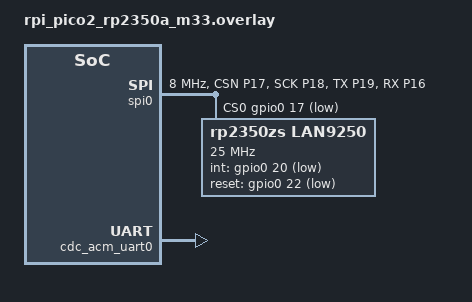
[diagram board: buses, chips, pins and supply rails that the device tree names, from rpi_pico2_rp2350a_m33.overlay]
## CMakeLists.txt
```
# SPDX-License-Identifier: Apache-2.0

cmake_minimum_required(VERSION 3.20.0)

find_package(Zephyr REQUIRED HINTS $ENV{ZEPHYR_BASE})
project(rp2350_zephyr_stepper)

target_sources(app PRIVATE
    src/main.c
    src/core1_launch.c
    src/stepper_shell.c
    src/core1_blob.c
    src/mdns_service.c
    src/eth_id.c
    src/bootloader_shell.c
    src/ptp_shell.c
    drivers/eth_lan9250/eth_lan9250.c
    drivers/eth_lan9250/ptp_clock_lan9250.c
)

include(cmake/core1.cmake)
```

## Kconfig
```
# SPDX-License-Identifier: Apache-2.0

mainmenu "RP2350 Zephyr Stepper"

rsource "drivers/eth_lan9250/Kconfig"

# Sources Kconfig.zephyr in the Zephyr root directory.
#
# Note: All 'source' statements work relative to the Zephyr root directory (due
# to the $srctree environment variable being set to $ZEPHYR_BASE). If you want
# to 'source' relative to the current Kconfig file instead, use 'rsource' (or a
# path relative to the Zephyr root).
source "Kconfig.zephyr"
```

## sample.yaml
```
sample:
  description: Bare-metal core1 stepper motor control with LAN9250 Ethernet and USB CDC-ACM console
  name: rp2350 zephyr stepper
common:
  min_ram: 32
  min_flash: 64
  tags: networking ethernet multicore
  platform_allow:
    - rpi_pico2/rp2350a/m33
tests:
  sample.net.dhcpv4_lan9250_stepper:
    tags: networking ethernet multicore
```

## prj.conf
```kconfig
CONFIG_USB_DEVICE_STACK_NEXT=y
CONFIG_CDC_ACM_SERIAL_INITIALIZE_AT_BOOT=y

# CONFIG_NETWORKING selects ENTROPY_GENERATOR, which defaults on the RP2350
# hardware RNG driver (ENTROPY_RPI_PICO_RNG). That driver pulls in hal_rpi_pico's
# pico_rand module, whose .uninitialized_data.rng_state section lands inside the
# RAM data-copy region immediately before usbd_context_area, desyncing the
# flash->RAM copy and corrupting the CDC ACM USBD context. Disable it and rely
# on the TEST_RANDOM_GENERATOR fallback instead.
CONFIG_ENTROPY_RPI_PICO_RNG=n

# Core0 <-> core1 SIO-FIFO mailbox (see &mbox in the board overlay).
CONFIG_MBOX=y

CONFIG_SERIAL=y
CONFIG_CONSOLE=y
CONFIG_SHELL=y
CONFIG_UART_CONSOLE=y
CONFIG_UART_LINE_CTRL=y


CONFIG_NETWORKING=y
CONFIG_NET_L2_ETHERNET=y
CONFIG_NET_L2_ETHERNET_MGMT=y
CONFIG_NET_IPV6=n
CONFIG_NET_IPV4=y
CONFIG_NET_ARP=y
CONFIG_NET_UDP=y
CONFIG_NET_DHCPV4=y
CONFIG_NET_DHCPV4_OPTION_CALLBACKS=y
CONFIG_DNS_RESOLVER=y

CONFIG_TEST_RANDOM_GENERATOR=y

CONFIG_INIT_STACKS=y

CONFIG_NET_MGMT=y
CONFIG_NET_MGMT_EVENT=y

CONFIG_NET_TCP=y

# Per-chip unique ID (RP2350 flash unique ID), used by src/eth_id.c to
# generate a stable, per-board MAC address instead of the fixed one in the
# devicetree overlay.
CONFIG_HWINFO=y

# IEEE 1588 (PTP) hardware clock on the LAN9250 - see
# drivers/eth_lan9250/ptp_clock_lan9250.c and THEORY_OF_OPERATION.md's
# "IEEE 1588 / PTP" section. CONFIG_PTP_CLOCK_SHELL gives a generic
# `ptp_clock get/set/adjust/rate_adjust <device>` shell interface for free
# (device name is PTP_CLOCK_NAME, i.e. "PTP_CLOCK") - used instead of
# hand-writing set/adjust/rate_adjust test commands ourselves; this
# project's own `ptp clock`/`ptp pps` commands (src/ptp_shell.c) cover
# what that generic interface doesn't (free-running-rate sanity check,
# arming the 1PPS output).
CONFIG_PTP_CLOCK=y
CONFIG_PTP_CLOCK_SHELL=y

# Needed for net_pkt_timestamp()/net_pkt_set_timestamp() - phase 4 (RX/TX
# hardware packet timestamping, drivers/eth_lan9250/eth_lan9250.c's
# lan9250_1588_rx_timestamp_check()/lan9250_1588_tx_timestamp_check())
# attaches captured 1588 timestamps to net_pkt via this.
CONFIG_NET_PKT_TIMESTAMP=y

# mDNS hostname resolution ("stepperXXXX".local, XXXX = last 2 MAC bytes in
# hex - see set_unique_hostname() in src/mdns_service.c) + DNS-SD service
# advertisement. CONFIG_NET_HOSTNAME_DYNAMIC gives NET_HOSTNAME_MAX_LEN a
# default of 63 (vs. just sizeof(CONFIG_NET_HOSTNAME)-1 otherwise), which is
# what actually leaves room to append the 4 hex digits at runtime.
CONFIG_NET_HOSTNAME_ENABLE=y
CONFIG_NET_HOSTNAME="stepper"
CONFIG_NET_HOSTNAME_DYNAMIC=y
CONFIG_MDNS_RESPONDER=y
CONFIG_DNS_SD=y
CONFIG_MDNS_RESPONDER_DNS_SD=y

# Network shell (telnet), advertised via DNS-SD (src/mdns_service.c) so the
# same `stepper ...`/`net ...` commands work over the network, discoverable
# without knowing the DHCP-assigned IP. Coexists with the USB CDC-ACM shell.
CONFIG_SHELL_BACKEND_TELNET=y

# ZVFS_POLL_MAX defaults to 4 (Kconfig: "default 4 if SHELL_BACKEND_TELNET"),
# sized for telnet alone. With MDNS_RESPONDER's DNS_SOCKET_DISPATCHER also
# needing poll slots via the same shared NET_SOCKETS_SERVICE thread, 4 isn't
# enough - the thread's own "needed slots > ZVFS_POLL_MAX" startup check
# fails closed, and *both* telnet and mDNS/DNS-SD registration silently fail
# ("Socket service thread not running" in the boot log). Matches the value
# zephyr/samples/net/mdns_responder/prj.conf uses for mDNS alone (9); a bit
# of headroom on top of that covers telnet's listen+accept sockets too.
CONFIG_ZVFS_POLL_MAX=12

# Root-caused via a live comparison: the stock zephyr/samples/net/ptp
# sample converges from LISTENING to GRAND_MASTER correctly on native_sim
# using the exact same PTP library code, but on this project's real
# hardware build the PTP thread's own announce/sync k_timers fire exactly
# on schedule (confirmed via direct instrumentation) while the PTP
# thread's blocking zsock_poll(..., -1) never wakes up to process them -
# it relies entirely on a zvfs_eventfd()-based self-pipe wakeup
# (ptp_clock_signal_timeout(), clock.c), and that eventfd creation itself
# was silently failing (confirmed: "fd=-1", the call's return value isn't
# checked anywhere in the library - a fd of -1 in a pollfd entry is always
# ignored by poll() per POSIX semantics, so the thread parks forever).
# Root cause: CONFIG_ZVFS_EVENTFD_MAX defaults to just 1 - a single
# system-wide eventfd - and this project's mDNS/telnet/DNS-SD socket
# service (subsys/net/lib/sockets/sockets_service.c) already uses its own
# eventfd for the identical self-pipe-wakeup pattern, claiming the only
# available slot before PTP's own (later, APPLICATION-level) init gets a
# turn. Also bump ZVFS_OPEN_MAX: CONFIG_PTP's Kconfig doesn't declare a
# ZVFS_OPEN_ADD_SIZE_* contribution for the sockets/eventfd it creates at
# runtime, so the auto-computed sum (from every *other* subsystem's
# declared needs) has no headroom for PTP's - harmless on its own, but
# kept since it's still a real gap worth covering.
CONFIG_ZVFS_EVENTFD_MAX=4
CONFIG_ZVFS_OPEN_MAX=32

# NET_MAX_CONN defaults to 4 (IPv4-only), which is enough for DHCPv4 + DNS
# resolver alone but not once mDNS (its own UDP listener) and telnet (a TCP
# listener, plus one more per connected client) are also running
# concurrently - the connection table fills up and new TCP SYNs get
# rejected ("Not enough connection contexts. Consider increasing
# CONFIG_NET_MAX_CONN").
CONFIG_NET_MAX_CONN=10

# NET_MAX_CONTEXTS (the underlying per-socket pool NET_MAX_CONN's entries
# are backed by) defaults to 6 - same headroom reasoning as NET_MAX_CONN
# above, bumped together so this doesn't become the next thing to run out.
CONFIG_NET_MAX_CONTEXTS=10

# Default NET_PKT_RX_COUNT=14 / NET_BUF_RX_COUNT=36 (at NET_BUF_DATA_SIZE=128
# bytes each) gives only ~4.6KB of total RX buffering. This LAN is
# genuinely chatty across many multicast groups (mDNS from several devices,
# Chromecast/Google Home discovery, SSDP, etc. - drivers/eth_lan9250/'s
# MCPAS fix passes all multicast, not just our own 224.0.0.251 traffic),
# with mDNS responses commonly running 400-650+ bytes and arriving in
# bursts of several back-to-back. Combined with the LAN9250's slow 10MHz
# SPI bus (each frame needs a full synchronous SPI read before the next
# can start), the default pool can empty out under sustained bursts
# ("Could not allocate rx buffer" in the log). Kept generous here even
# after moving multicast filtering into the driver (see
# drivers/eth_lan9250/), since RAM has plenty of headroom (~21% used of
# 392KB) and it's cheap insurance against burst traffic on a busy LAN.
CONFIG_NET_PKT_RX_COUNT=32
CONFIG_NET_BUF_RX_COUNT=128

# mdns_responder.c keeps its own separate, dedicated buffer pool
# (mdns_msg_pool) for every packet it parses on 224.0.0.251:5353 - distinct
# from the generic net_pkt RX pool above. It defaults to just
# DNS_RESOLVER_MIN_BUF(2) + MDNS_RESOLVER_ADDITIONAL_BUF_CTR(0) = 2 buffers
# of MDNS_RESOLVER_BUF_SIZE(512) bytes each, and mdns_responder.c's
# dns_read() allocates exactly one buffer per incoming message (truncated
# to MDNS_RESOLVER_BUF_SIZE, not chained across multiple buffers) - so
# buffer count directly caps how many messages can be in flight at once.
# Since our responder has to parse *every* multicast packet it receives to
# check relevance (not just ones meant for us), a query burst - e.g.
# `avahi-browse -a -r`, which makes every other device on the LAN answer
# about every service type nearly simultaneously - exhausts a small pool
# almost instantly. Confirmed via `net stats`: the DNS drop counter spikes
# sharply during exactly this kind of burst while DNS recv only rises
# modestly, i.e. packets are arriving and being dropped specifically at
# this layer, not just the generic IP layer - even a first attempt at
# generously bumping this (14 additional, 16 total = 8KB) wasn't enough
# for a real `avahi-browse -a` burst on this LAN (still ~47 DNS drops in a
# single reproduction). Bumped much further; RAM still has plenty of
# headroom (~26% used of 392KB even after this).
CONFIG_MDNS_RESOLVER_ADDITIONAL_BUF_CTR=46

# NET_IF_MCAST_IPV4_ADDR_COUNT defaults to 2, but one slot is permanently
# reserved by net_ipv4_igmp_init() for the IGMP all-systems address
# (224.0.0.1) - leaving only 1 free for applications. mDNS's 224.0.0.251
# already took that last slot, so both of ptp_multicast_rejoin()'s
# net_ipv4_igmp_join() calls (224.0.1.129, 224.0.0.107 - see src/eth_id.c)
# failed with -ENOMEM (confirmed via console log: "Forced multicast rejoin
# of 224.0.1.129 failed (-12)"). Sized for all-systems + mDNS + both PTP
# groups, plus one spare.
CONFIG_NET_IF_MCAST_IPV4_ADDR_COUNT=5

CONFIG_NET_LOG=y
CONFIG_LOG=y
CONFIG_LOG_DEFAULT_LEVEL=2

CONFIG_SLIP_STATISTICS=n

CONFIG_SPI=y
CONFIG_NET_SHELL=y
CONFIG_NET_STATISTICS=y
CONFIG_NET_STATISTICS_ETHERNET=y
CONFIG_NET_STATISTICS_USER_API=y

# TEMPORARY: lets `net mem` report live net_buf pool occupancy, to check
# for a real leak vs transient pressure in the RX buffer pool.
CONFIG_NET_BUF_POOL_USAGE=y

# No CONFIG_PTP_LOG_LEVEL / CONFIG_ETHERNET_LOG_LEVEL override left at
# all right now - both default to WRN, which silently compiles out every
# remaining project-added LOG_INF/LOG_DBG diagnostic in the (untracked)
# Zephyr PTP stack and the LAN9250 driver's RX path (confirmed via
# `strings <elf>` before this comment was written, not assumed). This is
# a deliberate clean baseline to test whether ARP replies work with zero
# residual diagnostic logging anywhere in the RX-adjacent path - if ARP
# still fails with this, logging volume is ruled out as the cause. (That
# test passed - the LAN9250's own hardware multicast hash filtering fix
# was the real cause, not logging volume.)

# Phase 5: IEEE 1588 PTP full network sync, built on phase 4's
# now-confirmed RX/TX hardware timestamping. Uses Zephyr's separate,
# newer CONFIG_PTP stack (subsys/net/lib/ptp/) rather than CONFIG_NET_GPTP
# (802.1AS/gPTP): gPTP mandates the peer-delay mechanism, which uses a
# reserved L2 multicast address (01-80-C2-00-00-0E) that ordinary,
# non-TSN-aware switches are specified to never forward between ports -
# confirmed on real hardware (symmetric Pdelay_Req loss through a plain
# switch, unaffected by port/cable, while direct board-to-board links
# always worked). Since this project can't require customers to use
# specialized TSN-capable switches, that made gPTP a non-starter despite
# it fully working in direct-connect testing. CONFIG_PTP defaults to the
# E2E delay mechanism over ordinary UDP/IPv4 multicast (224.0.1.129,
# the standard well-known PTP address) instead, which is genuinely
# ordinary IP traffic that any switch/router forwards normally. It
# reuses the same generic ptp_clock driver API (ptp_clock_set()/
# ptp_clock_rate_adjust()) this project's LAN9250 driver already
# implements, so the hardware bring-up work carries over - this is a
# protocol-stack substitution, not a hardware redo. depends on
# !NET_GPTP, so the two are mutually exclusive.
CONFIG_PTP=y
```

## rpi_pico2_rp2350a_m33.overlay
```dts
#include <zephyr/dt-bindings/pinctrl/rpi-pico-rp2350a-pinctrl.h>

&pinctrl {
    spi0_default: spi0_default {
        group1 {
            pinmux = <SPI0_CSN_P17>, <SPI0_SCK_P18>, <SPI0_TX_P19>;
        };
        group2 {
            pinmux = <SPI0_RX_P16>;
            input-enable;
        };
    };
};

&spi0 {
    status = "okay";
    clock-frequency = <DT_FREQ_M(8)>;
    pinctrl-0 = <&spi0_default>;
    pinctrl-names = "default";
    cs-gpios = <&gpio0 17 GPIO_ACTIVE_LOW>;

    lan9250: lan9250@0 {
        status = "okay";
        /* Project-local fork of Zephyr's upstream "microchip,lan9250"
         * driver (drivers/eth_lan9250/) - see the file header comment
         * there and THEORY_OF_OPERATION.md's "Forked LAN9250 driver"
         * section for why. */
        compatible = "rp2350zs,lan9250";
        reg = <0x0>;
        /* Boot-time-only fallback - src/eth_id.c overrides this at runtime
         * with a MAC derived from the RP2350's real per-chip unique ID
         * (hwinfo), so every board gets its own stable, distinct address
         * instead of this fixed placeholder. */
        local-mac-address = [00 00 00 01 02 03];
        /* Datasheet TABLE 10-3 "SPI/SQI Timing Values": f_sck maxes out at
         * 80MHz for writes/Dual/Quad SIO instructions but only 30MHz for
         * (single-line) Read instructions (Note 3) - and this driver uses
         * single-line reads exclusively (RX FIFO pulls, register polling),
         * so 30MHz is the real ceiling here. Raised from the original
         * 10MHz to 25MHz, leaving some margin below that limit for this
         * hand-wired setup. */
        spi-max-frequency = <25000000>;
        int-gpios = <&gpio0 20 GPIO_ACTIVE_LOW>;
        /* Now supported by our own rp2350zs,lan9250 binding (the upstream
         * microchip,lan9250 binding this project forked didn't declare
         * this property). Without a real reset pulse here, a warm RP2350
         * reset (e.g. reflashing over USB) doesn't reset the LAN9250
         * itself, letting it retain state from its previous boot -
         * eth_lan9250.c's lan9250_init() already had the correct,
         * datasheet-timed pulse logic for this, it just never ran because
         * this property didn't exist for it to bind to. */
        reset-gpios = <&gpio0 22 GPIO_ACTIVE_LOW>;
    };
};

&gpio0 {
    status = "okay";
};

/* Reserve the top 128KB (2x64KB) of SRAM for the bare-metal core1 image at
 * 0x20062000-0x20082000; Zephyr/core0 is confined to the bottom 392KB.
 * CONFIG_SRAM_SIZE/CONFIG_SRAM_BASE_ADDRESS (and thus the linker RAM region
 * and the RP2350 MPU SRAM_0 region) derive directly from this node's reg. */
&sram0 {
    reg = <0x20000000 DT_SIZE_K(392)>;
};

&mbox {
    status = "okay";
};

/ {
    chosen {
        zephyr,console = &cdc_acm_uart0;
        zephyr,shell-uart = &cdc_acm_uart0;
    };
};

&zephyr_udc0 {
    cdc_acm_uart0: cdc_acm_uart0 {
        status = "okay";
        compatible = "zephyr,cdc-acm-uart";
        label = "Zephyr USB CDC ACM";
    };
};
```

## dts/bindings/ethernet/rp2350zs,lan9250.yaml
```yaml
# Copyright (c) 2024, Mario Paja
# SPDX-License-Identifier: Apache-2.0
#
# Forked from Zephyr's upstream microchip,lan9250.yaml so this project can
# carry its own patched driver copy (drivers/eth_lan9250/) - see the
# "Forked LAN9250 driver" section in THEORY_OF_OPERATION.md for why.

description: |
    LAN9250 standalone 10/100BASE-T Ethernet controller with SPI interface
    (project-local fork of Zephyr's upstream driver - see drivers/eth_lan9250/)

compatible: "rp2350zs,lan9250"

include: [spi-device.yaml, ethernet-controller.yaml]

properties:
  int-gpios:
    type: phandle-array
    required: true
    description: |
      The interrupt pin of LAN9250 is active low.
      If connected directly the MCU pin should be configured
      as active low.

  reset-gpios:
    type: phandle-array
    description: |
      The LAN9250's RST# pin is active low. If provided, the driver
      (eth_lan9250.c's lan9250_init()) drives a timed hardware reset pulse
      before configuring the chip, per LAN9250 datasheet Section 19.6.3
      (t_rstia >= 200us, t_cfg >= 15ms after deassertion). Added to this
      project-local binding because a warm reset of the RP2350 (e.g. after
      reflashing over USB, as opposed to a full power cycle) does not
      reset the LAN9250 itself - without a real hardware reset pulse here,
      the chip can retain state from its previous boot and Zephyr's own
      init sequence can fail against it (e.g. net_if_set_link_addr()
      failing in eth_id.c's set_unique_mac_address() until the board is
      power-cycled).
```

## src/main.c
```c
#include <zephyr/logging/log.h>
LOG_MODULE_REGISTER(net_dhcpv4_client_sample, LOG_LEVEL_DBG);

#include <zephyr/kernel.h>
#include <zephyr/linker/sections.h>
#include <errno.h>
#include <stdio.h>

#include <zephyr/net/net_if.h>
#include <zephyr/net/net_core.h>
#include <zephyr/net/net_context.h>
#include <zephyr/net/net_mgmt.h>
#include <zephyr/device.h>
#include <zephyr/net/phy.h>

#include "core1_launch.h"
#include "stepper_shell.h"
#include "mdns_service.h"
#include "eth_id.h"
#include "ptp_shell.h"

#define DHCP_OPTION_NTP (42)

static uint8_t ntp_server[4];

static struct net_mgmt_event_callback mgmt_cb;

static struct net_dhcpv4_option_callback dhcp_cb;

static void start_dhcpv4_client(struct net_if *iface, void *user_data)
{
	ARG_UNUSED(user_data);

	LOG_INF("Start on %s: index=%d", net_if_get_device(iface)->name,
		net_if_get_by_iface(iface));
	net_dhcpv4_start(iface);
}

static void handler(struct net_mgmt_event_callback *cb,
		    uint64_t mgmt_event,
		    struct net_if *iface)
{
	int i = 0;

	if (mgmt_event == NET_EVENT_IF_UP) {
		/* Restart DHCP fresh on every link-up transition, not just at
		 * boot. Confirmed via a real link-flap event (a cold-spray
		 * disturbance test briefly perturbing the LAN9250's PHY): the
		 * board came back with its interface operationally up but no
		 * valid IPv4 address at all (net_ctx: "src addr is
		 * unspecified", every PTP send failing with
		 * "ptp_transport: Failed to send message") and never
		 * recovered on its own - the DHCP client's own state machine
		 * doesn't appear to notice a link bounce and re-acquire on
		 * its own. net_dhcpv4_stop() before net_dhcpv4_start() forces
		 * a genuinely fresh acquisition rather than trusting whatever
		 * internal state (e.g. still considering itself BOUND) the
		 * client was left in - calling stop() on a client that was
		 * never started, or already stopped, is a safe no-op, so
		 * this is fine to also run unconditionally on the very first
		 * boot-time link-up alongside main()'s own initial
		 * start_dhcpv4_client() call.
		 */
		net_dhcpv4_stop(iface);
		net_dhcpv4_start(iface);
		return;
	}

	if (mgmt_event != NET_EVENT_IPV4_ADDR_ADD) {
		return;
	}

	/* A bound IPv4 address means DHCP just completed a real Ethernet
	 * round trip, so the link is confirmed up - unlike at boot, when
	 * mDNS's own early multicast join can silently fail in hardware
	 * before the PHY has linked. See mdns_force_multicast_rejoin(). */
	mdns_force_multicast_rejoin(iface);

	/* ptp_multicast_rejoin() is deliberately NOT called here anymore. It
	 * was based on the false assumption that CONFIG_PTP has no boot-time
	 * multicast join of its own - it does (transport_join_multicast(),
	 * confirmed to run right after link-up and succeed). Draining and
	 * rejoining the group out from under the PTP library's own
	 * already-good membership was corrupting it, which is why role
	 * negotiation (BMCA) never converged between boards: both stayed
	 * self-elected masters, each barely receiving the other's
	 * Announce/Sync traffic despite it being confirmed present on the
	 * wire. */

	/* This network's switch sends zero IGMP query traffic (confirmed via
	 * a live capture) - no active querier, so nothing else ever prompts
	 * a renewed membership report. Without periodic refreshing, the
	 * switch's IGMP-snooping forwarding entries can silently age out,
	 * which is why multi-board PTP reception was observed to work for a
	 * while then intermittently drop, worsening as more boards competed
	 * for the switch's table. See multicast_membership_refresh_start()'s
	 * comment (eth_id.c/h) for the full story. */
	multicast_membership_refresh_start(iface);

	for (i = 0; i < NET_IF_MAX_IPV4_ADDR; i++) {
		char buf[NET_IPV4_ADDR_LEN];

		if (iface->config.ip.ipv4->unicast[i].ipv4.addr_type !=
							NET_ADDR_DHCP) {
			continue;
		}

		LOG_INF("   Address[%d]: %s", net_if_get_by_iface(iface),
			net_addr_ntop(NET_AF_INET,
			    &iface->config.ip.ipv4->unicast[i].ipv4.address.in_addr,
						  buf, sizeof(buf)));
		LOG_INF("    Subnet[%d]: %s", net_if_get_by_iface(iface),
			net_addr_ntop(NET_AF_INET,
				       &iface->config.ip.ipv4->unicast[i].netmask,
				       buf, sizeof(buf)));
		LOG_INF("    Router[%d]: %s", net_if_get_by_iface(iface),
			net_addr_ntop(NET_AF_INET,
						 &iface->config.ip.ipv4->gw,
						 buf, sizeof(buf)));
		LOG_INF("Lease time[%d]: %u seconds", net_if_get_by_iface(iface),
			iface->config.dhcpv4.lease_time);
	}
}

static void option_handler(struct net_dhcpv4_option_callback *cb,
			   size_t length,
			   enum net_dhcpv4_msg_type msg_type,
			   struct net_if *iface)
{
	char buf[NET_IPV4_ADDR_LEN];

	LOG_INF("DHCP Option %d: %s", cb->option,
		net_addr_ntop(NET_AF_INET, cb->data, buf, sizeof(buf)));
}

struct phy_data {
    const struct device *dev;
    struct phy_link_state state;
    // ... other fields we don't care about
};

int main(void)
{
	LOG_INF("Run dhcpv4 client");

	/* The unique MAC address itself is now set much earlier, inside
	 * eth_lan9250.c's lan9250_init() - see
	 * lan9250_load_unique_mac_address()'s comment for why that had to
	 * move out of main() (gPTP's clockIdentity, computed during kernel
	 * boot before main() runs, needs it that early). This just reads
	 * the now-already-unique link address back out to derive the
	 * hostname suffix.
	 */
	set_unique_hostname();

	if (core1_launch()) {
		LOG_ERR("Failed to launch core1");
	}

	if (stepper_mbox_init()) {
		LOG_ERR("Failed to init core1 mailbox");
	}

	net_mgmt_init_event_callback(&mgmt_cb, handler,
				     NET_EVENT_IPV4_ADDR_ADD | NET_EVENT_IF_UP);
	net_mgmt_add_event_callback(&mgmt_cb);

	net_dhcpv4_init_option_callback(&dhcp_cb, option_handler,
					DHCP_OPTION_NTP, ntp_server,
					sizeof(ntp_server));

	net_dhcpv4_add_option_callback(&dhcp_cb);

	net_if_foreach(start_dhcpv4_client, NULL);

	/* Arm the 1PPS scope-observation output at boot instead of requiring
	 * the `ptp pps` shell command after every reboot/reflash - see
	 * lan9250_1588_pps_enable()'s own comment for the hardware details.
	 * Two separate waits, for two separate reasons:
	 *
	 * 1. A fixed hardware settle delay: arming this immediately at the
	 *    top of main() (~30ms after kernel boot) reliably fails silently
	 *    - the LAN9250's own internal reset/auto-load sequence apparently
	 *    hasn't fully settled that early, even though device_is_ready()
	 *    and the SPI writes themselves both report success.
	 *
	 * 2. ptp_pps_arm_when_synced() then additionally waits for PTP to
	 *    consider this port's clock trustworthy before actually arming -
	 *    otherwise the Clock Target gets seeded from whatever the local
	 *    clock happens to read mid-negotiation, silently baking in
	 *    however far off that was as a fixed offset between this board's
	 *    pulses and its peer's (see ptp_get_port_sync_state()'s doc
	 *    comment, zephyr/net/ptp.h). Falls back to arming anyway past its
	 *    own timeout, for a standalone board with no peer to sync to.
	 */
	k_sleep(K_SECONDS(15));
	{
		const struct device *const lan9250_dev = DEVICE_DT_GET(DT_NODELABEL(lan9250));

		ptp_pps_arm_when_synced(lan9250_dev, 60000);
	}

	while(1)
	{
//		printf("Hello World! %s\n", CONFIG_BOARD_TARGET);
		k_sleep(K_MSEC(1000));
	}


	return 0;
}
```

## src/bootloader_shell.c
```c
#include <zephyr/shell/shell.h>
#include <zephyr/sys/sys_io.h>

#include <pico/bootrom.h>

/*
 * Reboots straight into the RP2350's USB mass-storage UF2 bootloader
 * (RPI-RP2), the same mode BOOTSEL does at power-on - so reflashing over
 * USB no longer needs physically holding the button. rom_reset_usb_boot()
 * is a genuine RP2350 bootrom ROM call (modules/hal_rpi_pico's
 * pico_bootrom, already vendored and built as part of this project); it
 * never returns.
 */
static int cmd_bootloader(const struct shell *sh, size_t argc, char **argv)
{
	ARG_UNUSED(argc);
	ARG_UNUSED(argv);

	shell_print(sh, "Rebooting into USB bootloader (RPI-RP2)...");

	rom_reset_usb_boot(0, 0);

	return 0;
}

SHELL_CMD_REGISTER(bootloader, NULL,
		    "Reboot into the RP2350 USB mass-storage bootloader (RPI-RP2) for reflashing",
		    cmd_bootloader);

/*
 * Plain reset back into the currently flashed application - not the
 * bootloader. Zephyr's own sys_reboot()/`kernel reboot` isn't usable here:
 * it needs an SoC-specific sys_arch_reboot() implementation, and none
 * exists for RP2350 in this Zephyr version (CONFIG_REBOOT=y fails to
 * link).
 *
 * The Pico SDK's own watchdog_reboot() would be the idiomatic way to do
 * this, but its home library (hal_rpi_pico's hardware_watchdog, a
 * pico_add_subdirectory() CMake target like pico_bootrom above) isn't
 * actually linked into this Zephyr build unless something else already
 * depends on it - unlike pico_bootrom, nothing here does, and there's no
 * clean way to opt in from an app's own CMakeLists.txt (a
 * target_link_libraries(app PRIVATE hardware_watchdog) resolves to
 * "cannot find -lhardware_watchdog": the CMake target exists during
 * configure, but Zephyr's own build glue doesn't expose it as something
 * an app can link against directly). So this replicates the delay_ms=0
 * path of watchdog_reboot(0, 0, 0) directly via raw register access
 * instead - the same style core1/regs.h and drivers/eth_lan9250/ already
 * use elsewhere in this project, and genuinely simpler here too: register
 * offsets/bits cross-checked against
 * hal_rpi_pico/src/rp2_common/hardware_watchdog/watchdog.c's
 * _watchdog_enable() (the real implementation watchdog_reboot() calls
 * into for this exact delay_ms=0 case).
 */
#define WATCHDOG_BASE			0x400d8000u
#define WATCHDOG_CTRL_OFFSET		0x00u
#define WATCHDOG_CTRL_TRIGGER_BITS	0x80000000u /* self-clearing: write 1 to reset now */
#define WATCHDOG_CTRL_ENABLE_BITS	0x40000000u
#define WATCHDOG_SCRATCH4_OFFSET	0x1cu

#define PSM_BASE			0x40018000u
#define PSM_WDSEL_OFFSET		0x08u
#define PSM_WDSEL_BITS			0x01ffffffu
#define PSM_WDSEL_ROSC_BITS		0x00000004u
#define PSM_WDSEL_XOSC_BITS		0x00000008u

static int cmd_reset(const struct shell *sh, size_t argc, char **argv)
{
	ARG_UNUSED(argc);
	ARG_UNUSED(argv);

	shell_print(sh, "Resetting...");

	/* Disable watchdog before reconfiguring it */
	sys_clear_bits(WATCHDOG_BASE + WATCHDOG_CTRL_OFFSET, WATCHDOG_CTRL_ENABLE_BITS);

	/* Reset everything the watchdog can reset except the oscillators */
	sys_set_bits(PSM_BASE + PSM_WDSEL_OFFSET,
		     PSM_WDSEL_BITS & ~(PSM_WDSEL_ROSC_BITS | PSM_WDSEL_XOSC_BITS));

	/* pc=0: reboot through the normal flash boot path, not a jump to a
	 * custom vector and not the USB bootloader.
	 */
	sys_write32(0, WATCHDOG_BASE + WATCHDOG_SCRATCH4_OFFSET);

	/* Self-clearing trigger bit - fires the reset immediately */
	sys_set_bits(WATCHDOG_BASE + WATCHDOG_CTRL_OFFSET, WATCHDOG_CTRL_TRIGGER_BITS);

	for (;;) {
		/* Should never get here - reset fires above */
	}

	return 0;
}

SHELL_CMD_REGISTER(reset, NULL, "Reset the board", cmd_reset);
```

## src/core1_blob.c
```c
#include <stdint.h>
#include <stddef.h>

const uint8_t core1_blob[] = {
#include <core1_blob.bin.inc>
};

const size_t core1_blob_size = sizeof(core1_blob);
```

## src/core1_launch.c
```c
#include <stdint.h>
#include <stddef.h>
#include <string.h>

#include <zephyr/sys/util.h>

#include <hardware/structs/sio.h>
#include <hardware/structs/psm.h>
#include <hardware/address_mapped.h>

#include "core1_launch.h"

/* Must match core1/linker.ld CORE1_RAM ORIGIN, and the &sram0 carve-out in
 * the app's devicetree overlay. */
#define CORE1_RAM_BASE ((uint32_t *)0x20062000u)

extern const uint8_t core1_blob[];
extern const size_t core1_blob_size;

/*
 * Direct reimplementation of the RP2350 bootrom's core1 launch protocol
 * (see pico_multicore's multicore_reset_core1()/multicore_launch_core1_raw()
 * for the reference this was checked against) against the raw SIO/PSM
 * registers, without pulling pico_multicore into the Zephyr build.
 */
static void core1_reset(void)
{
	io_rw_32 *frce_off = &psm_hw->frce_off;

	/*
	 * hw_set_alias()/hw_clear_alias() rely on typeof(), a GNU extension
	 * not available under Zephyr's strict -std=c17; use the _untyped
	 * variants directly instead (same pattern multicore_reset_core1()
	 * itself falls back to under __STRICT_ANSI__).
	 */
	*(io_rw_32 *)hw_set_alias_untyped(frce_off) = PSM_FRCE_OFF_PROC1_BITS;
	while (!(*frce_off & PSM_FRCE_OFF_PROC1_BITS)) {
	}

	*(io_rw_32 *)hw_clear_alias_untyped(frce_off) = PSM_FRCE_OFF_PROC1_BITS;

	/* Core1 drains its own FIFO on reset then pushes a 0 to confirm. */
	while (!(sio_hw->fifo_st & SIO_FIFO_ST_VLD_BITS)) {
	}
	(void)sio_hw->fifo_rd;
}

int core1_launch(void)
{
	memcpy(CORE1_RAM_BASE, core1_blob, core1_blob_size);

	uint32_t vector_table = (uint32_t)CORE1_RAM_BASE;
	uint32_t sp = CORE1_RAM_BASE[0];
	uint32_t entry = CORE1_RAM_BASE[1];

	core1_reset();

	const uint32_t cmd_sequence[] = {0, 0, 1, vector_table, sp, entry};
	uint32_t seq = 0;

	while (seq < ARRAY_SIZE(cmd_sequence)) {
		uint32_t cmd = cmd_sequence[seq];

		if (cmd == 0) {
			while (sio_hw->fifo_st & SIO_FIFO_ST_VLD_BITS) {
				(void)sio_hw->fifo_rd;
			}
			__asm volatile("sev");
		}

		while (!(sio_hw->fifo_st & SIO_FIFO_ST_RDY_BITS)) {
		}
		sio_hw->fifo_wr = cmd;
		__asm volatile("sev");

		while (!(sio_hw->fifo_st & SIO_FIFO_ST_VLD_BITS)) {
		}
		uint32_t resp = sio_hw->fifo_rd;

		seq = (cmd == resp) ? seq + 1 : 0;
	}

	return 0;
}
```

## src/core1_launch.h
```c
#ifndef CORE1_LAUNCH_H
#define CORE1_LAUNCH_H

/* Copies the embedded core1 blob into its reserved RAM region and launches
 * it via the RP2350 bootrom SIO FIFO handshake. Returns 0 on success.
 */
int core1_launch(void);

#endif /* CORE1_LAUNCH_H */
```

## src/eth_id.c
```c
#include <zephyr/net/net_if.h>
#include <zephyr/net/net_ip.h>
#include <zephyr/net/igmp.h>
#include <zephyr/logging/log.h>

LOG_MODULE_REGISTER(eth_id, LOG_LEVEL_INF);

#include "eth_id.h"

void force_multicast_rejoin(struct net_if *iface, const char *addr_str)
{
	struct net_in_addr addr;

	/*
	 * A subsystem's own SYS_INIT-/boot-time IGMP join can run long
	 * before the LAN9250's PHY link finishes negotiation (~2s
	 * post-boot). eth_lan9250.c's lan9250_tx() writes the IGMP report
	 * straight to the LAN9250's TX FIFO over SPI and returns success
	 * purely based on that SPI transaction completing - it never checks
	 * net_if_is_carrier_ok() - so with no physical link yet, the report
	 * is silently discarded by the hardware while net_ipv4_igmp_join()
	 * still sees ret == 0 and marks the group "joined" (confirmed via
	 * the `net ipv4` shell command).
	 *
	 * That false-positive "joined" state then defeats both of Zephyr's
	 * built-in recovery paths for this exact case: net_if.c's
	 * rejoin_ipv4_mcast_groups() (run when the interface later goes
	 * operationally up for real) and any subsystem's own
	 * NET_EVENT_IF_UP handler both skip any group whose
	 * net_if_ipv4_maddr_is_joined() is already true - so no genuine
	 * report is ever retried.
	 *
	 * Worse, net_ipv4_igmp_join()'s net_if_ipv4_maddr_add() refcounts
	 * the group entry on *every* join call regardless of is_joined - and
	 * e.g. mdns_responder joins twice on its own (the SYS_INIT boot
	 * join, then again from its NET_EVENT_IF_UP handler once carrier
	 * really comes up), leaving a refcount of 2. net_ipv4_igmp_leave()
	 * only decrements that count; net_if_ipv4_maddr_rm() treats "count
	 * still > 0" as "still in use" and returns without ever clearing
	 * is_joined or sending a Leave report. So a single leave() call here
	 * isn't enough - it silently no-ops, and the following join() then
	 * also no-ops (is_joined is still true). Draining the refcount to
	 * zero first (leave() in a loop until the address is actually gone,
	 * i.e. -ENOENT) is what actually clears is_joined so the final
	 * join() below performs a real send.
	 */
	net_addr_pton(NET_AF_INET, addr_str, &addr);

	while (net_ipv4_igmp_leave(iface, &addr) == 0) {
		/* keep draining refcount until the group is fully removed */
	}

	int ret = net_ipv4_igmp_join(iface, &addr, NULL);

	if (ret < 0) {
		LOG_WRN("Forced multicast rejoin of %s failed (%d)", addr_str, ret);
	} else {
		LOG_INF("Forced multicast rejoin of %s", addr_str);
	}
}

void ptp_multicast_rejoin(struct net_if *iface)
{
	/* General/event PTP messages (Sync, Announce, Delay_Req, ...). */
	force_multicast_rejoin(iface, "224.0.1.129");

	/* Peer-delay mechanism messages (Pdelay_Req/Resp). */
	force_multicast_rejoin(iface, "224.0.0.107");
}

#define MULTICAST_MEMBERSHIP_REFRESH_INTERVAL K_SECONDS(30)

static struct net_if *multicast_refresh_iface;
static struct k_work_delayable multicast_refresh_work;

static void multicast_membership_refresh_handler(struct k_work *work)
{
	ARG_UNUSED(work);

	/* Real IGMP membership reports, sent periodically rather than only
	 * once at boot - this network's switch was confirmed (via a live
	 * capture) to send zero IGMP query traffic at all, meaning nothing
	 * ever prompts a renewed report on its own. Without one, an IGMP-
	 * snooping switch with no active querier has no way to distinguish
	 * "still a member" from "left silently", and relies purely on an
	 * internal aging timeout with nothing to refresh it - matching the
	 * intermittent, worsening-over-time multicast reception observed
	 * between boards once three of them were competing for the switch's
	 * forwarding table. net_ipv4_igmp_join() can't be reused for this -
	 * it's a deliberate no-op once already joined - so this uses the new
	 * net_ipv4_igmp_resend_reports() instead (see its comment in the
	 * Zephyr tree, subsys/net/ip/igmp.c).
	 */
	(void)net_ipv4_igmp_resend_reports(multicast_refresh_iface);

	k_work_reschedule(&multicast_refresh_work, MULTICAST_MEMBERSHIP_REFRESH_INTERVAL);
}

void multicast_membership_refresh_start(struct net_if *iface)
{
	if (multicast_refresh_iface != NULL) {
		/* Already running - only one interface's worth needed. */
		return;
	}

	multicast_refresh_iface = iface;
	k_work_init_delayable(&multicast_refresh_work, multicast_membership_refresh_handler);
	k_work_reschedule(&multicast_refresh_work, MULTICAST_MEMBERSHIP_REFRESH_INTERVAL);
}
```

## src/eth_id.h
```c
#ifndef ETH_ID_H
#define ETH_ID_H

#include <zephyr/net/net_if.h>

/* Forces a real IGMP leave+rejoin of the IPv4 multicast group at addr_str
 * (dotted-decimal) on iface. Call once a working link is independently
 * confirmed (e.g. a bound DHCP lease) - see the comment on this function's
 * definition for why this is necessary on top of any subsystem's own boot-
 * time join. Used by mdns_force_multicast_rejoin() (mdns_service.h) for
 * 224.0.0.251, and by ptp_multicast_rejoin() below for PTP's groups.
 */
void force_multicast_rejoin(struct net_if *iface, const char *addr_str);

/* Forces IGMP joins for PTP-over-UDP's multicast destination addresses:
 * 224.0.1.129 (general/event messages - Sync, Announce, Delay_Req, etc.)
 * and 224.0.0.107 (peer-delay mechanism messages). Without these, every
 * inbound PTP packet is silently dropped by net_ipv4_input()'s "mcast not
 * for me" gate before it ever reaches the driver's RX processing, even
 * though the LAN9250's hardware RX filter (RX_PARSE_CONFIG's RX_ADD1_EN/
 * RX_ADD5_EN, both on by default) already recognizes both addresses at the
 * hardware level - same class of issue as mDNS's 224.0.0.251, just never
 * joined in the first place since nothing subscribes to PTP traffic on its
 * own like mdns_responder does. Call once a working link is independently
 * confirmed, same timing as mdns_force_multicast_rejoin().
 */
void ptp_multicast_rejoin(struct net_if *iface);

/* Starts a periodic (30s) IGMP membership-report refresh for iface, for
 * the lifetime of the application. Necessary because this network's
 * switch was confirmed to send zero IGMP query traffic - with no active
 * querier, nothing else ever prompts a renewed report, and a switch's
 * IGMP-snooping forwarding entry can silently age out with no signal to
 * the host that it happened. See the definition's comment for the full
 * story. Call once, after a working link is confirmed (same timing as
 * the other multicast-join calls above); safe to call more than once,
 * only the first call has any effect.
 */
void multicast_membership_refresh_start(struct net_if *iface);

#endif /* ETH_ID_H */
```

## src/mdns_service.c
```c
#include <string.h>

#include <zephyr/kernel.h>
#include <zephyr/sys/printk.h>
#include <zephyr/net/dns_sd.h>
#include <zephyr/net/hostname.h>
#include <zephyr/net/net_if.h>
#include <zephyr/logging/log.h>

LOG_MODULE_REGISTER(mdns_service, LOG_LEVEL_INF);

#include "mdns_service.h"
#include "eth_id.h"

/*
 * "<CONFIG_NET_HOSTNAME><2 hex bytes>\0" - e.g. "stepper0203". Shared by
 * both the mDNS hostname (set_unique_hostname(), below) and the DNS-SD
 * service instance name registered at the bottom of this file, so they
 * can't drift out of sync. Starts as just CONFIG_NET_HOSTNAME so there's a
 * sane fallback if set_unique_hostname() is never called or the interface
 * has no link address yet.
 */
static char stepper_id[sizeof(CONFIG_NET_HOSTNAME) - 1 + 4 + 1] = CONFIG_NET_HOSTNAME;

void set_unique_hostname(void)
{
	struct net_if *iface = net_if_get_default();
	struct net_linkaddr *link_addr;

	if (!iface) {
		return;
	}

	link_addr = net_if_get_link_addr(iface);
	if (!link_addr || link_addr->len < 2) {
		return;
	}

	snprintk(stepper_id, sizeof(stepper_id), "%s%02x%02x", CONFIG_NET_HOSTNAME,
		 link_addr->addr[link_addr->len - 2], link_addr->addr[link_addr->len - 1]);

	net_hostname_set(stepper_id, strlen(stepper_id));
}

/*
 * Advertises the network shell (CONFIG_SHELL_BACKEND_TELNET, a fixed,
 * well-known port) via DNS-SD, so it's discoverable as `<stepper_id>.local`
 * without knowing the DHCP-assigned IP - e.g. `avahi-browse -r _telnet._tcp`
 * or `dns-sd -B _telnet._tcp` should find it, and `telnet <stepper_id>.local`
 * connects to the same shell the USB CDC-ACM console provides.
 *
 * The .instance field is stepper_id's *address*, not a copy - a plain
 * global array's address is a valid link-time constant even though its
 * *contents* are only filled in later by set_unique_hostname(), and dns_sd.c
 * reads .instance fresh (strlen() etc.) on every query response rather than
 * caching it, so this picks up the real, MAC-suffixed name once
 * set_unique_hostname() has run.
 *
 * A fixed port means this can be a plain file-scope declaration (no socket
 * setup needed here - the telnet shell backend already owns its own
 * listening socket internally); see
 * zephyr/samples/net/mdns_responder/src/service.c for the ephemeral-port
 * variant, which isn't needed here.
 */
DNS_SD_REGISTER_TCP_SERVICE(mdns_telnet_shell, stepper_id, "_telnet", "local", DNS_SD_EMPTY_TXT,
			     CONFIG_SHELL_TELNET_PORT);

void mdns_force_multicast_rejoin(struct net_if *iface)
{
	/*
	 * mdns_responder's own SYS_INIT-time join for 224.0.0.251
	 * (subsys/net/lib/dns/mdns_responder.c) can race the LAN9250's PHY
	 * link negotiation and end up falsely marked "joined" with no real
	 * report ever sent - see the comment on force_multicast_rejoin()
	 * (eth_id.c) for the full explanation of why a plain leave+join
	 * isn't enough and a refcount-draining loop is required.
	 */
	force_multicast_rejoin(iface, "224.0.0.251");
}
```

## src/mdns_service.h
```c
#ifndef MDNS_SERVICE_H
#define MDNS_SERVICE_H

#include <zephyr/net/net_if.h>

/* Sets both the mDNS hostname and the DNS-SD service instance name to
 * "<CONFIG_NET_HOSTNAME><last 2 MAC bytes, hex>", e.g. "stepper0203" for a
 * MAC ending in 02:03. Call once, early in main(), after the network
 * interface (and thus its link address) exists.
 */
void set_unique_hostname(void);

/* Forces a real IGMP leave+rejoin of the mDNS multicast group
 * (224.0.0.251) on iface. Call once a working link is independently
 * confirmed (e.g. a bound DHCP lease) - see the comment on this function's
 * definition for why this is necessary on top of mDNS's own join.
 */
void mdns_force_multicast_rejoin(struct net_if *iface);

#endif /* MDNS_SERVICE_H */
```

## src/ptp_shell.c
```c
#include <zephyr/kernel.h>
#include <zephyr/shell/shell.h>
#include <zephyr/device.h>
#include <zephyr/net/net_if.h>
#include <zephyr/net/net_pkt.h>
#include <zephyr/net/ethernet.h>
#include <zephyr/net/ptp.h>
#include <zephyr/sys/byteorder.h>
#include <zephyr/logging/log.h>

#include "../drivers/eth_lan9250/eth_lan9250_ptp.h"
#include "ptp_shell.h"

LOG_MODULE_REGISTER(ptp_shell, LOG_LEVEL_INF);

int ptp_pps_arm_when_synced(const struct device *lan9250_dev, int max_wait_ms)
{
	struct net_if *iface;
	bool is_time_transmitter = false, is_synced = false;
	int64_t deadline;
	int ret;

	if (!device_is_ready(lan9250_dev)) {
		LOG_ERR("lan9250 device not ready, cannot arm 1PPS output");
		return -ENODEV;
	}

	iface = net_if_lookup_by_dev(lan9250_dev);
	deadline = k_uptime_get() + max_wait_ms;

	while (k_uptime_get() < deadline) {
		if (iface &&
		    ptp_get_port_sync_state(iface, &is_time_transmitter, &is_synced) == 0 &&
		    (is_time_transmitter || is_synced)) {
			break;
		}
		k_sleep(K_MSEC(500));
	}

	if (!is_time_transmitter && !is_synced) {
		LOG_WRN("Arming 1PPS output without confirmed PTP sync "
			"(is_time_transmitter=%d is_synced=%d after %d ms) - alignment "
			"to any peer is not guaranteed",
			is_time_transmitter, is_synced, max_wait_ms);
	}

	ret = lan9250_1588_pps_enable(lan9250_dev);
	if (ret < 0) {
		LOG_ERR("Failed to arm 1PPS output (%d)", ret);
	}

	return ret;
}

/*
 * Phase 1 validation command for the LAN9250's 1588 PTP hardware clock
 * (see drivers/eth_lan9250/eth_lan9250.c's lan9250_1588_init() and
 * THEORY_OF_OPERATION.md's "IEEE 1588 / PTP" section) - reads the clock
 * twice, ~200ms apart, so the reported delta can be sanity-checked
 * against real elapsed time by eye.
 */
static const struct device *const lan9250_dev = DEVICE_DT_GET(DT_NODELABEL(lan9250));

static int cmd_ptp_clock(const struct shell *sh, size_t argc, char **argv)
{
	uint32_t sec1, ns1, sec2, ns2;
	int64_t delta_ns;
	int ret;

	ARG_UNUSED(argc);
	ARG_UNUSED(argv);

	if (!device_is_ready(lan9250_dev)) {
		shell_error(sh, "lan9250 device not ready");
		return -ENODEV;
	}

	ret = lan9250_ptp_clock_read(lan9250_dev, &sec1, &ns1, NULL);
	if (ret < 0) {
		shell_error(sh, "1588 clock read failed (%d)", ret);
		return ret;
	}

	shell_print(sh, "1588 clock: %u.%09u", sec1, ns1);

	k_msleep(200);

	ret = lan9250_ptp_clock_read(lan9250_dev, &sec2, &ns2, NULL);
	if (ret < 0) {
		shell_error(sh, "1588 clock read failed (%d)", ret);
		return ret;
	}

	shell_print(sh, "1588 clock: %u.%09u (~200ms later)", sec2, ns2);

	delta_ns = ((int64_t)sec2 - (int64_t)sec1) * 1000000000LL +
		   ((int64_t)ns2 - (int64_t)ns1);

	shell_print(sh, "Delta: %lld ns (expect roughly +200000000)", delta_ns);

	return 0;
}

/*
 * Phase 2 validation command: arm the 1PPS output on GPIO1 (pin 46 -
 * this board's LED1/GPIO1/TDI/MNGT1, unused by the RJ45 LEDs, only a
 * 10k pull-down for the MNGT1 strap). See
 * lan9250_1588_pps_enable()'s definition for the hardware reasoning
 * (push/pull output, 100ns pulse mode, auto-repeating Clock Target).
 */
static int cmd_ptp_pps(const struct shell *sh, size_t argc, char **argv)
{
	struct net_if *iface;
	bool is_time_transmitter = false, is_synced = false;
	int ret;

	ARG_UNUSED(argc);
	ARG_UNUSED(argv);

	if (!device_is_ready(lan9250_dev)) {
		shell_error(sh, "lan9250 device not ready");
		return -ENODEV;
	}

	iface = net_if_lookup_by_dev(lan9250_dev);
	if (iface &&
	    ptp_get_port_sync_state(iface, &is_time_transmitter, &is_synced) == 0 &&
	    !is_time_transmitter && !is_synced) {
		shell_print(sh, "Waiting up to 30s for PTP sync before arming "
				"(is_time_transmitter=%d is_synced=%d)...",
			    is_time_transmitter, is_synced);
	}

	ret = ptp_pps_arm_when_synced(lan9250_dev, 30000);
	if (ret < 0) {
		shell_error(sh, "Failed to arm 1PPS output (%d)", ret);
		return ret;
	}

	shell_print(sh, "1PPS output armed on GPIO1 (pin 46) - 100ns pulse, active high, "
			"once per second");

	return 0;
}

/*
 * Phase 4 TX validation command: builds and sends a minimal, real Layer-2
 * PTP Sync frame (EtherType 0x88F7, IEEE 1588-2008 common header) through
 * the normal net_if TX path - the same path Zephyr's own LLDP sender uses
 * for its raw Ethernet frames (subsys/net/l2/ethernet/lldp/lldp.c) - so it
 * actually reaches lan9250_tx() and exercises
 * lan9250_1588_tx_timestamp_check() the same way a genuine outbound PTP
 * message would, no shortcuts into driver internals. Confirmed working:
 * see THEORY_OF_OPERATION.md's "Hardware TX packet timestamping" section.
 *
 * Destined to the well-known Layer-2 (non-peer-delay) PTP multicast
 * address so a real capture on a mirrored switch port - the same setup
 * used for RX validation, see THEORY_OF_OPERATION.md's "Hardware RX
 * packet timestamping" section - can confirm this frame actually left the
 * wire. Watch the console (CONFIG_ETHERNET_LOG_LEVEL_DBG=y, already set
 * in prj.conf) for lan9250_1588_tx_timestamp_check()'s own LOG_DBG output
 * to see the hardware egress capture get matched.
 *
 * Only messageType (byte 0), messageLength (bytes 2-3), and sequenceId
 * (bytes 30-31) of the 32-byte PTP common header matter here - the rest
 * is left zeroed. messageType 0 (Sync) is one of the four types
 * LAN9250_1588_PTP_MESSAGE_EN_DEFAULT enables for hardware timestamping
 * (eth_lan9250_priv.h) - matches what RX-side validation used against
 * real ptp4l traffic, for consistency. messageLength must be a real,
 * non-zero value (44, matching a genuine Sync message's length, even
 * though this frame's payload only actually contains the first 32 bytes)
 * - the LAN9250 silently never records an egress timestamp for a frame
 * whose messageLength is 0, a requirement not listed among the
 * datasheet's documented TX egress-recording gating conditions (section
 * 14.2.2.3: messageType enable, versionPTP, domain, alt-master,
 * FCS/checksum) but real nonetheless.
 *
 * UDP/IPv4-framed PTP (dst port 319, 224.0.1.129) was also tried and did
 * NOT produce a capture even with messageLength fixed - left as a known,
 * unresolved gap; this command validates the L2 path only.
 */
static int cmd_ptp_txtest(const struct shell *sh, size_t argc, char **argv)
{
	static const struct net_eth_addr l2_ptp_mcast = {
		{ 0x01, 0x1b, 0x19, 0x00, 0x00, 0x00 }
	};
	static uint16_t seq_id;
	struct net_if *iface;
	struct net_pkt *pkt;
	uint8_t ptp_payload[32] = {0};

	ARG_UNUSED(argc);
	ARG_UNUSED(argv);

	if (!device_is_ready(lan9250_dev)) {
		shell_error(sh, "lan9250 device not ready");
		return -ENODEV;
	}

	iface = net_if_lookup_by_dev(lan9250_dev);
	if (!iface) {
		shell_error(sh, "No net_if bound to lan9250 device");
		return -ENODEV;
	}

	ptp_payload[0] = 0x00; /* messageType = Sync (transportSpecific nibble = 0) */
	ptp_payload[1] = 0x02; /* versionPTP = 2, matching TX_TIMESTAMP_CONFIG's default */
	sys_put_be16(44, &ptp_payload[2]); /* messageLength - see comment above */
	sys_put_be16(seq_id, &ptp_payload[30]);

	pkt = net_pkt_alloc_with_buffer(iface, sizeof(ptp_payload), NET_AF_UNSPEC, 0,
					K_MSEC(100));
	if (!pkt) {
		shell_error(sh, "Failed to allocate net_pkt");
		return -ENOMEM;
	}

	if (net_pkt_write(pkt, ptp_payload, sizeof(ptp_payload)) < 0) {
		net_pkt_unref(pkt);
		shell_error(sh, "Failed to write PTP payload");
		return -EIO;
	}

	net_pkt_set_ll_proto_type(pkt, NET_ETH_PTYPE_PTP);
	(void)net_linkaddr_copy(net_pkt_lladdr_src(pkt), net_if_get_link_addr(iface));
	(void)net_linkaddr_set(net_pkt_lladdr_dst(pkt), l2_ptp_mcast.addr,
			       sizeof(l2_ptp_mcast.addr));

	shell_print(sh, "Sending L2 PTP Sync frame (seq=%u) to "
			"%02x:%02x:%02x:%02x:%02x:%02x",
		    seq_id, l2_ptp_mcast.addr[0], l2_ptp_mcast.addr[1],
		    l2_ptp_mcast.addr[2], l2_ptp_mcast.addr[3], l2_ptp_mcast.addr[4],
		    l2_ptp_mcast.addr[5]);

	if (net_if_try_send_data(iface, pkt, K_MSEC(100)) == NET_DROP) {
		net_pkt_unref(pkt);
		shell_error(sh, "Send failed");
		return -EIO;
	}

	shell_print(sh, "Sent - watch the console for "
			"lan9250_1588_tx_timestamp_check()'s output");

	seq_id++;

	return 0;
}

static int cmd_ptp_rxdrop(const struct shell *sh, size_t argc, char **argv)
{
	uint32_t rx_drop;
	int ret;

	if (!device_is_ready(lan9250_dev)) {
		shell_error(sh, "lan9250 device not ready");
		return -ENODEV;
	}

	ret = lan9250_rx_drop_get(lan9250_dev, &rx_drop);
	if (ret < 0) {
		shell_error(sh, "read failed: %d", ret);
		return ret;
	}

	shell_print(sh, "RX_DROP (hardware MIL FIFO drops, clears on read) = %u", rx_drop);

	return 0;
}

SHELL_STATIC_SUBCMD_SET_CREATE(sub_ptp,
	SHELL_CMD(clock, NULL,
		  "Read the LAN9250's 1588 PTP hardware clock twice, ~200ms apart",
		  cmd_ptp_clock),
	SHELL_CMD(pps, NULL,
		  "Arm a 1PPS output on GPIO1 (pin 46) for scope observation",
		  cmd_ptp_pps),
	SHELL_CMD(txtest, NULL,
		  "Send a real L2 PTP Sync frame to test hardware TX timestamping",
		  cmd_ptp_txtest),
	SHELL_CMD(rxdrop, NULL,
		  "Read (and clear) the LAN9250's hardware RX_DROP (MIL FIFO drop) counter",
		  cmd_ptp_rxdrop),
	SHELL_SUBCMD_SET_END
);

SHELL_CMD_REGISTER(ptp, &sub_ptp, "IEEE 1588 PTP hardware clock", NULL);
```
